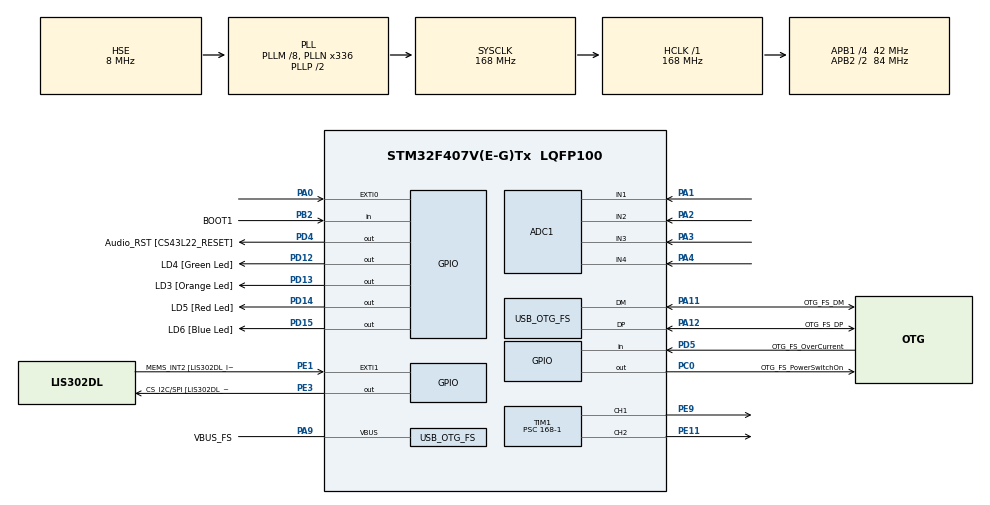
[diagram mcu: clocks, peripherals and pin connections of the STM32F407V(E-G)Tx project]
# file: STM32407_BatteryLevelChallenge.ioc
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ADC1.Channel-0\#ChannelRegularConversion=ADC_CHANNEL_1
ADC1.Channel-1\#ChannelRegularConversion=ADC_CHANNEL_2
ADC1.Channel-2\#ChannelRegularConversion=ADC_CHANNEL_3
ADC1.Channel-3\#ChannelRegularConversion=ADC_CHANNEL_4
ADC1.DiscontinuousConvMode=ENABLE
ADC1.NbrOfConversion=4
ADC1.NbrOfConversionFlag=1
ADC1.Rank-0\#ChannelRegularConversion=1
ADC1.Rank-1\#ChannelRegularConversion=2
ADC1.Rank-2\#ChannelRegularConversion=3
ADC1.Rank-3\#ChannelRegularConversion=4
ADC1.SamplingTime-0\#ChannelRegularConversion=ADC_SAMPLETIME_3CYCLES
ADC1.SamplingTime-1\#ChannelRegularConversion=ADC_SAMPLETIME_3CYCLES
ADC1.SamplingTime-2\#ChannelRegularConversion=ADC_SAMPLETIME_3CYCLES
ADC1.SamplingTime-3\#ChannelRegularConversion=ADC_SAMPLETIME_3CYCLES
ADC1.master=1
Mcu.Family=STM32F4
Mcu.Name=STM32F407V(E-G)Tx
Mcu.Package=LQFP100
NVIC.OTG_FS_IRQn=true\:0\:0\:false\:false\:true\:true\:true\:true
NVIC.PriorityGroup=NVIC_PRIORITYGROUP_0
PA0-WKUP.Signal=GPXTI0
PA1.Signal=ADCx_IN1
PA10.GPIO_Label=OTG_FS_ID
PA10.GPIO_Mode=GPIO_MODE_AF_PP
PA10.GPIO_PuPd=GPIO_NOPULL
PA10.GPIO_Speed=GPIO_SPEED_FREQ_LOW
PA10.Signal=USB_OTG_FS_ID
PA11.GPIO_Label=OTG_FS_DM
PA11.GPIO_Mode=GPIO_MODE_AF_PP
PA11.GPIO_PuPd=GPIO_NOPULL
PA11.GPIO_Speed=GPIO_SPEED_FREQ_LOW
PA11.Mode=Host_Only
PA11.Signal=USB_OTG_FS_DM
PA12.GPIO_Label=OTG_FS_DP
PA12.GPIO_Mode=GPIO_MODE_AF_PP
PA12.GPIO_PuPd=GPIO_NOPULL
PA12.GPIO_Speed=GPIO_SPEED_FREQ_LOW
PA12.Mode=Host_Only
PA12.Signal=USB_OTG_FS_DP
PA13.GPIO_Label=SWDIO
PA13.Mode=Serial_Wire
PA13.Signal=SYS_JTMS-SWDIO
PA14.GPIO_Label=SWCLK
PA14.Mode=Serial_Wire
PA14.Signal=SYS_JTCK-SWCLK
PA2.Signal=ADCx_IN2
PA3.Signal=ADCx_IN3
PA4.Signal=ADCx_IN4
PA9.GPIO_Label=VBUS_FS
PA9.GPIO_Mode=GPIO_MODE_INPUT
PA9.GPIO_PuPd=GPIO_NOPULL
PA9.Mode=Activate_VBUS
PA9.Signal=USB_OTG_FS_VBUS
PB10.GPIO_Label=CLK_IN [MP45DT02_CLK]
PB10.GPIO_Mode=GPIO_MODE_AF_PP
PB10.GPIO_PuPd=GPIO_NOPULL
PB10.GPIO_Speed=GPIO_SPEED_FREQ_LOW
PB10.Signal=I2S2_CK
PB2.GPIO_Label=BOOT1
PB2.GPIO_Mode=GPIO_MODE_INPUT
PB2.GPIO_PuPd=GPIO_NOPULL
PB2.Signal=GPIO_Input
PB3.GPIO_Label=SWO
PB3.Signal=SYS_JTDO-SWO
PB6.GPIO_Label=Audio_SCL [CS43L22_SCL]
PB6.GPIO_Mode=GPIO_MODE_AF_OD
PB6.GPIO_Pu=GPIO_PULLUP
PB6.GPIO_PuPd=GPIO_NOPULL
PB6.GPIO_Speed=GPIO_SPEED_FREQ_LOW
PB6.Signal=I2C1_SCL
PB9.GPIO_Label=Audio_SDA [CS43L22_SDA]
PB9.GPIO_Mode=GPIO_MODE_AF_OD
PB9.GPIO_Pu=GPIO_PULLUP
PB9.GPIO_PuPd=GPIO_NOPULL
PB9.GPIO_Speed=GPIO_SPEED_FREQ_LOW
PB9.Signal=I2C1_SDA
PC0.GPIO_Label=OTG_FS_PowerSwitchOn
PC0.GPIO_PuPd=GPIO_NOPULL
PC0.GPIO_Speed=GPIO_SPEED_FREQ_LOW
PC0.PinState=GPIO_PIN_SET
PC0.Signal=GPIO_Output
PC10.GPIO_Label=I2S3_SCK [CS43L22_SCLK]
PC10.GPIO_Mode=GPIO_MODE_AF_PP
PC10.GPIO_PuPd=GPIO_NOPULL
PC10.GPIO_Speed=GPIO_SPEED_FREQ_LOW
PC10.Signal=I2S3_CK
PC12.GPIO_Label=I2S3_SD [CS43L22_SDIN]
PC12.GPIO_Mode=GPIO_MODE_AF_PP
PC12.GPIO_PuPd=GPIO_NOPULL
PC12.GPIO_Speed=GPIO_SPEED_FREQ_LOW
PC12.Signal=I2S3_SD
PC14-OSC32_IN.GPIO_Label=PC14-OSC32_IN
PC14-OSC32_IN.Mode=LSE-External-Oscillator
PC14-OSC32_IN.Signal=RCC_OSC32_IN
PC15-OSC32_OUT.GPIO_Label=PC15-OSC32_OUT
PC15-OSC32_OUT.Mode=LSE-External-Oscillator
PC15-OSC32_OUT.Signal=RCC_OSC32_OUT
PC3.GPIO_Label=PDM_OUT [MP45DT02_DOUT]
PC3.GPIO_Mode=GPIO_MODE_AF_PP
PC3.GPIO_PuPd=GPIO_NOPULL
PC3.GPIO_Speed=GPIO_SPEED_FREQ_LOW
PC3.Signal=I2S2_SD
PC7.GPIO_Label=I2S3_MCK [CS43L22_MCLK]
PC7.GPIO_Mode=GPIO_MODE_AF_PP
PC7.GPIO_PuPd=GPIO_NOPULL
PC7.GPIO_Speed=GPIO_SPEED_FREQ_LOW
PC7.Signal=I2S3_MCK
PD12.GPIO_Label=LD4 [Green Led]
PD12.GPIO_PuPd=GPIO_NOPULL
PD12.GPIO_Speed=GPIO_SPEED_FREQ_LOW
PD12.Signal=GPIO_Output
PD13.GPIO_Label=LD3 [Orange Led]
PD13.GPIO_PuPd=GPIO_NOPULL
PD13.GPIO_Speed=GPIO_SPEED_FREQ_LOW
PD13.Signal=GPIO_Output
PD14.GPIO_Label=LD5 [Red Led]
PD14.GPIO_PuPd=GPIO_NOPULL
PD14.GPIO_Speed=GPIO_SPEED_FREQ_LOW
PD14.Signal=GPIO_Output
PD15.GPIO_Label=LD6 [Blue Led]
PD15.GPIO_PuPd=GPIO_NOPULL
PD15.GPIO_Speed=GPIO_SPEED_FREQ_LOW
PD15.Signal=GPIO_Output
PD4.GPIO_Label=Audio_RST [CS43L22_RESET]
PD4.GPIO_PuPd=GPIO_NOPULL
PD4.GPIO_Speed=GPIO_SPEED_FREQ_LOW
PD4.Signal=GPIO_Output
PD5.GPIO_Label=OTG_FS_OverCurrent
PD5.GPIO_Mode=GPIO_MODE_INPUT
PD5.GPIO_PuPd=GPIO_NOPULL
PD5.Signal=GPIO_Input
PE1.GPIO_Label=MEMS_INT2 [LIS302DL_INT2]
PE1.GPIO_ModeDefaultEXTI=GPIO_MODE_EVT_RISING
PE1.GPIO_PuPd=GPIO_NOPULL
PE1.Signal=GPXTI1
PE11.Signal=S_TIM1_CH2
PE3.GPIO_Label=CS_I2C/SPI [LIS302DL_CS_I2C/SPI]
PE3.GPIO_PuPd=GPIO_NOPULL
PE3.GPIO_Speed=GPIO_SPEED_FREQ_LOW
PE3.Signal=GPIO_Output
PE9.Signal=S_TIM1_CH1
PH0-OSC_IN.GPIO_Label=PH0-OSC_IN
PH0-OSC_IN.Mode=HSE-External-Oscillator
PH0-OSC_IN.Signal=RCC_OSC_IN
PH1-OSC_OUT.GPIO_Label=PH1-OSC_OUT
PH1-OSC_OUT.Mode=HSE-External-Oscillator
PH1-OSC_OUT.Signal=RCC_OSC_OUT
ProjectManager.HeapSize=0x200
ProjectManager.StackSize=0x400
ProjectManager.TargetToolchain=STM32CubeIDE
RCC.48MHZClocksFreq_Value=48000000
RCC.AHBFreq_Value=168000000
RCC.APB1CLKDivider=RCC_HCLK_DIV4
RCC.APB1Freq_Value=42000000
RCC.APB1TimFreq_Value=84000000
RCC.APB2CLKDivider=RCC_HCLK_DIV2
RCC.APB2Freq_Value=84000000
RCC.APB2TimFreq_Value=168000000
RCC.CortexFreq_Value=168000000
RCC.HCLKFreq_Value=168000000
RCC.HSE_VALUE=8000000
RCC.HSI_VALUE=16000000
RCC.PLLM=8
RCC.PLLN=336
RCC.PLLQ=7
RCC.SYSCLKFreq_VALUE=168000000
RCC.SYSCLKSource=RCC_SYSCLKSOURCE_PLLCLK
RCC.VCOOutputFreq_Value=336000000
SH.ADCx_IN1.0=ADC1_IN1,IN1
SH.ADCx_IN2.0=ADC1_IN2,IN2
SH.ADCx_IN3.0=ADC1_IN3,IN3
SH.ADCx_IN4.0=ADC1_IN4,IN4
SH.S_TIM1_CH1.0=TIM1_CH1,PWM Generation1 CH1
SH.S_TIM1_CH2.0=TIM1_CH2,PWM Generation2 CH2
TIM1.Channel-PWM\ Generation1\ CH1=TIM_CHANNEL_1
TIM1.Channel-PWM\ Generation2\ CH2=TIM_CHANNEL_2
TIM1.Period=1000-1
TIM1.Prescaler=168-1
TIM3.Period=60000-1
TIM3.Prescaler=8400-1
USB_HOST.BSP.number=1
USB_HOST.USBH_HandleTypeDef-CDC_FS=hUsbHostFS
USB_HOST.VirtualModeFS=Cdc
USB_HOST0.BSP.STBoard=false
USB_HOST0.BSP.api=Unknown
USB_HOST0.BSP.instance=PC0
USB_HOST0.BSP.ip=GPIO
USB_HOST0.BSP.mode=Output
USB_HOST0.BSP.name=Drive_VBUS_FS
USB_HOST0.BSP.solution=PC0
USB_OTG_FS.VirtualMode=Host_Only
USB_OTG_FS.phy_itface=HCD_PHY_EMBEDDED
VP_TIM3_VS_ClockSourceINT.Mode=Internal
VP_USB_HOST_VS_USB_HOST_CDC_FS.Mode=CDC_FS
board=STM32F407G-DISC1

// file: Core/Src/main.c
/* USER CODE BEGIN Header */
/**
  ******************************************************************************
  * @file           : main.c
  * @brief          : Main program body
  ******************************************************************************
  * @attention
  *
  * Copyright (c) 2025 STMicroelectronics.
  * All rights reserved.
  *
  * This software is licensed under terms that can be found in the LICENSE file
  * in the root directory of this software component.
  * If no LICENSE file comes with this software, it is provided AS-IS.
  *
  ******************************************************************************
  */
/* USER CODE END Header */
#include "main.h"
#include "usb_host.h"

/* USER CODE BEGIN PD */

#define MOTOR_ON_THRESH 7
#define MOTOR_OFF_THRESH 6.5

/* USER CODE END PD */

ADC_HandleTypeDef hadc1;

TIM_HandleTypeDef htim1;
TIM_HandleTypeDef htim3;

/* USER CODE BEGIN PV */

uint16_t gADC_Value = 0;
uint8_t gButton_State = 0;
uint8_t gEditMotors = 0;

/* USER CODE END PV */

void SystemClock_Config(void);
static void MX_GPIO_Init(void);
static void MX_ADC1_Init(void);
static void MX_TIM3_Init(void);
static void MX_TIM1_Init(void);
void MX_USB_HOST_Process(void);

/* USER CODE BEGIN 0 */

long map(long x, long in_min, long in_max, long out_min, long out_max) // Define function to map voltage to a percentage
{
	return (x - in_min) * (out_max - out_min + 1) / (in_max - in_min +1) + out_min;
}

/* USER CODE END 0 */

int main(void)
{

  /* MCU Configuration--------------------------------------------------------*/

  /* Reset of all peripherals, Initializes the Flash interface and the Systick. */
  HAL_Init();

  /* Configure the system clock */
  SystemClock_Config();

  /* Initialize all configured peripherals */
  MX_GPIO_Init();
  MX_USB_HOST_Init();
  MX_ADC1_Init();
  MX_TIM3_Init();
  MX_TIM1_Init();
  /* USER CODE BEGIN 2 */

  HAL_TIM_Base_Start_IT(&htim1);

  /* USER CODE END 2 */

  /* Infinite loop */
  /* USER CODE BEGIN WHILE */
  while (1)
  {
	  uint8_t channel1_PWM;
	  uint8_t channel2_PWM;
	  uint8_t pwm_Level;

	  HAL_ADC_Start(&hadc1);
	  HAL_ADC_PollForConversion(&hadc1, 100);
	  gADC_Value = HAL_ADC_GetValue(&hadc1);
	  HAL_ADC_Stop(&hadc1);

	  gADC_Value = map(gADC_Value, 0, 4096, 0, 100);

	  // Checks battery level and changes accordingly
	  if (gADC_Value > MOTOR_ON_THRESH){

		  // Motor on at full speed
		  pwm_Level = 9;

	  }

	  else if(gADC_Value < MOTOR_OFF_THRESH){

		  // Stops Motors
		  pwm_Level = 0;

	  }

	  else{

		  // Motor on at half speed
		  pwm_Level = 5;

	  }

	  // Checks button clicks and changes accordingly
	  if (gEditMotors == 1)
	  {
		  gEditMotors = 0;

		  if (gButton_State == 1)
		  {
			  // Turns off motors
			  channel1_PWM = 0;
			  channel2_PWM = 0;
		  }
		  if (gButton_State == 2)
		  {
			  // Rotates CW
			  channel1_PWM = pwm_Level;
			  channel2_PWM = 0;
		  }
		  if (gButton_State == 3)
		  {
			  // Rotates CCW
			  channel1_PWM = 0;
			  channel2_PWM = pwm_Level;
		  }

		  gButton_State = 0;
	  }

	  // Change motor pins accordingly
	  __HAL_TIM_SET_COMPARE(&htim1, TIM_CHANNEL_1, channel1_PWM);
	  __HAL_TIM_SET_COMPARE(&htim1, TIM_CHANNEL_2, channel2_PWM);

    /* USER CODE END WHILE */
    MX_USB_HOST_Process();

  }
}

void SystemClock_Config(void)
{
  RCC_OscInitTypeDef RCC_OscInitStruct = {0};
  RCC_ClkInitTypeDef RCC_ClkInitStruct = {0};

  /** Configure the main internal regulator output voltage
  */
  __HAL_RCC_PWR_CLK_ENABLE();
  __HAL_PWR_VOLTAGESCALING_CONFIG(PWR_REGULATOR_VOLTAGE_SCALE1);

  /** Initializes the RCC Oscillators according to the specified parameters
  * in the RCC_OscInitTypeDef structure.
  */
  RCC_OscInitStruct.OscillatorType = RCC_OSCILLATORTYPE_HSE;
  RCC_OscInitStruct.HSEState = RCC_HSE_ON;
  RCC_OscInitStruct.PLL.PLLState = RCC_PLL_ON;
  RCC_OscInitStruct.PLL.PLLSource = RCC_PLLSOURCE_HSE;
  RCC_OscInitStruct.PLL.PLLM = 8;
  RCC_OscInitStruct.PLL.PLLN = 336;
  RCC_OscInitStruct.PLL.PLLP = RCC_PLLP_DIV2;
  RCC_OscInitStruct.PLL.PLLQ = 7;
  if (HAL_RCC_OscConfig(&RCC_OscInitStruct) != HAL_OK)
  {
    Error_Handler();
  }

  /** Initializes the CPU, AHB and APB buses clocks
  */
  RCC_ClkInitStruct.ClockType = RCC_CLOCKTYPE_HCLK|RCC_CLOCKTYPE_SYSCLK
                              |RCC_CLOCKTYPE_PCLK1|RCC_CLOCKTYPE_PCLK2;
  RCC_ClkInitStruct.SYSCLKSource = RCC_SYSCLKSOURCE_PLLCLK;
  RCC_ClkInitStruct.AHBCLKDivider = RCC_SYSCLK_DIV1;
  RCC_ClkInitStruct.APB1CLKDivider = RCC_HCLK_DIV4;
  RCC_ClkInitStruct.APB2CLKDivider = RCC_HCLK_DIV2;

  if (HAL_RCC_ClockConfig(&RCC_ClkInitStruct, FLASH_LATENCY_5) != HAL_OK)
  {
    Error_Handler();
  }
}

static void MX_ADC1_Init(void)
{

  ADC_ChannelConfTypeDef sConfig = {0};

  /** Configure the global features of the ADC (Clock, Resolution, Data Alignment and number of conversion)
  */
  hadc1.Instance = ADC1;
  hadc1.Init.ClockPrescaler = ADC_CLOCK_SYNC_PCLK_DIV4;
  hadc1.Init.Resolution = ADC_RESOLUTION_12B;
  hadc1.Init.ScanConvMode = ENABLE;
  hadc1.Init.ContinuousConvMode = DISABLE;
  hadc1.Init.DiscontinuousConvMode = ENABLE;
  hadc1.Init.NbrOfDiscConversion = 1;
  hadc1.Init.ExternalTrigConvEdge = ADC_EXTERNALTRIGCONVEDGE_NONE;
  hadc1.Init.ExternalTrigConv = ADC_SOFTWARE_START;
  hadc1.Init.DataAlign = ADC_DATAALIGN_RIGHT;
  hadc1.Init.NbrOfConversion = 4;
  hadc1.Init.DMAContinuousRequests = DISABLE;
  hadc1.Init.EOCSelection = ADC_EOC_SINGLE_CONV;
  if (HAL_ADC_Init(&hadc1) != HAL_OK)
  {
    Error_Handler();
  }

  /** Configure for the selected ADC regular channel its corresponding rank in the sequencer and its sample time.
  */
  sConfig.Channel = ADC_CHANNEL_1;
  sConfig.Rank = 1;
  sConfig.SamplingTime = ADC_SAMPLETIME_3CYCLES;
  if (HAL_ADC_ConfigChannel(&hadc1, &sConfig) != HAL_OK)
  {
    Error_Handler();
  }

  /** Configure for the selected ADC regular channel its corresponding rank in the sequencer and its sample time.
  */
  sConfig.Channel = ADC_CHANNEL_2;
  sConfig.Rank = 2;
  if (HAL_ADC_ConfigChannel(&hadc1, &sConfig) != HAL_OK)
  {
    Error_Handler();
  }

  /** Configure for the selected ADC regular channel its corresponding rank in the sequencer and its sample time.
  */
  sConfig.Channel = ADC_CHANNEL_3;
  sConfig.Rank = 3;
  if (HAL_ADC_ConfigChannel(&hadc1, &sConfig) != HAL_OK)
  {
    Error_Handler();
  }

  /** Configure for the selected ADC regular channel its corresponding rank in the sequencer and its sample time.
  */
  sConfig.Channel = ADC_CHANNEL_4;
  sConfig.Rank = 4;
  if (HAL_ADC_ConfigChannel(&hadc1, &sConfig) != HAL_OK)
  {
    Error_Handler();
  }

}

static void MX_TIM1_Init(void)
{

  TIM_MasterConfigTypeDef sMasterConfig = {0};
  TIM_OC_InitTypeDef sConfigOC = {0};
  TIM_BreakDeadTimeConfigTypeDef sBreakDeadTimeConfig = {0};

  htim1.Instance = TIM1;
  htim1.Init.Prescaler = 168-1;
  htim1.Init.CounterMode = TIM_COUNTERMODE_UP;
  htim1.Init.Period = 1000-1;
  htim1.Init.ClockDivision = TIM_CLOCKDIVISION_DIV1;
  htim1.Init.RepetitionCounter = 0;
  htim1.Init.AutoReloadPreload = TIM_AUTORELOAD_PRELOAD_DISABLE;
  if (HAL_TIM_PWM_Init(&htim1) != HAL_OK)
  {
    Error_Handler();
  }
  sMasterConfig.MasterOutputTrigger = TIM_TRGO_RESET;
  sMasterConfig.MasterSlaveMode = TIM_MASTERSLAVEMODE_DISABLE;
  if (HAL_TIMEx_MasterConfigSynchronization(&htim1, &sMasterConfig) != HAL_OK)
  {
    Error_Handler();
  }
  sConfigOC.OCMode = TIM_OCMODE_PWM1;
  sConfigOC.Pulse = 0;
  sConfigOC.OCPolarity = TIM_OCPOLARITY_HIGH;
  sConfigOC.OCNPolarity = TIM_OCNPOLARITY_HIGH;
  sConfigOC.OCFastMode = TIM_OCFAST_DISABLE;
  sConfigOC.OCIdleState = TIM_OCIDLESTATE_RESET;
  sConfigOC.OCNIdleState = TIM_OCNIDLESTATE_RESET;
  if (HAL_TIM_PWM_ConfigChannel(&htim1, &sConfigOC, TIM_CHANNEL_1) != HAL_OK)
  {
    Error_Handler();
  }
  if (HAL_TIM_PWM_ConfigChannel(&htim1, &sConfigOC, TIM_CHANNEL_2) != HAL_OK)
  {
    Error_Handler();
  }
  sBreakDeadTimeConfig.OffStateRunMode = TIM_OSSR_DISABLE;
  sBreakDeadTimeConfig.OffStateIDLEMode = TIM_OSSI_DISABLE;
  sBreakDeadTimeConfig.LockLevel = TIM_LOCKLEVEL_OFF;
  sBreakDeadTimeConfig.DeadTime = 0;
  sBreakDeadTimeConfig.BreakState = TIM_BREAK_DISABLE;
  sBreakDeadTimeConfig.BreakPolarity = TIM_BREAKPOLARITY_HIGH;
  sBreakDeadTimeConfig.AutomaticOutput = TIM_AUTOMATICOUTPUT_DISABLE;
  if (HAL_TIMEx_ConfigBreakDeadTime(&htim1, &sBreakDeadTimeConfig) != HAL_OK)
  {
    Error_Handler();
  }
  HAL_TIM_MspPostInit(&htim1);

}

static void MX_TIM3_Init(void)
{

  TIM_ClockConfigTypeDef sClockSourceConfig = {0};
  TIM_MasterConfigTypeDef sMasterConfig = {0};

  htim3.Instance = TIM3;
  htim3.Init.Prescaler = 8400-1;
  htim3.Init.CounterMode = TIM_COUNTERMODE_UP;
  htim3.Init.Period = 60000-1;
  htim3.Init.ClockDivision = TIM_CLOCKDIVISION_DIV1;
  htim3.Init.AutoReloadPreload = TIM_AUTORELOAD_PRELOAD_DISABLE;
  if (HAL_TIM_Base_Init(&htim3) != HAL_OK)
  {
    Error_Handler();
  }
  sClockSourceConfig.ClockSource = TIM_CLOCKSOURCE_INTERNAL;
  if (HAL_TIM_ConfigClockSource(&htim3, &sClockSourceConfig) != HAL_OK)
  {
    Error_Handler();
  }
  sMasterConfig.MasterOutputTrigger = TIM_TRGO_RESET;
  sMasterConfig.MasterSlaveMode = TIM_MASTERSLAVEMODE_DISABLE;
  if (HAL_TIMEx_MasterConfigSynchronization(&htim3, &sMasterConfig) != HAL_OK)
  {
    Error_Handler();
  }

}

static void MX_GPIO_Init(void)
{
  GPIO_InitTypeDef GPIO_InitStruct = {0};

  /* GPIO Ports Clock Enable */
  __HAL_RCC_GPIOE_CLK_ENABLE();
  __HAL_RCC_GPIOC_CLK_ENABLE();
  __HAL_RCC_GPIOH_CLK_ENABLE();
  __HAL_RCC_GPIOA_CLK_ENABLE();
  __HAL_RCC_GPIOB_CLK_ENABLE();
  __HAL_RCC_GPIOD_CLK_ENABLE();

  /*Configure GPIO pin Output Level */
  HAL_GPIO_WritePin(CS_I2C_SPI_GPIO_Port, CS_I2C_SPI_Pin, GPIO_PIN_RESET);

  /*Configure GPIO pin Output Level */
  HAL_GPIO_WritePin(OTG_FS_PowerSwitchOn_GPIO_Port, OTG_FS_PowerSwitchOn_Pin, GPIO_PIN_SET);

  /*Configure GPIO pin Output Level */
  HAL_GPIO_WritePin(GPIOD, LD4_Pin|LD3_Pin|LD5_Pin|LD6_Pin
                          |Audio_RST_Pin, GPIO_PIN_RESET);

  /*Configure GPIO pin : CS_I2C_SPI_Pin */
  GPIO_InitStruct.Pin = CS_I2C_SPI_Pin;
  GPIO_InitStruct.Mode = GPIO_MODE_OUTPUT_PP;
  GPIO_InitStruct.Pull = GPIO_NOPULL;
  GPIO_InitStruct.Speed = GPIO_SPEED_FREQ_LOW;
  HAL_GPIO_Init(CS_I2C_SPI_GPIO_Port, &GPIO_InitStruct);

  /*Configure GPIO pin : OTG_FS_PowerSwitchOn_Pin */
  GPIO_InitStruct.Pin = OTG_FS_PowerSwitchOn_Pin;
  GPIO_InitStruct.Mode = GPIO_MODE_OUTPUT_PP;
  GPIO_InitStruct.Pull = GPIO_NOPULL;
  GPIO_InitStruct.Speed = GPIO_SPEED_FREQ_LOW;
  HAL_GPIO_Init(OTG_FS_PowerSwitchOn_GPIO_Port, &GPIO_InitStruct);

  /*Configure GPIO pin : PDM_OUT_Pin */
  GPIO_InitStruct.Pin = PDM_OUT_Pin;
  GPIO_InitStruct.Mode = GPIO_MODE_AF_PP;
  GPIO_InitStruct.Pull = GPIO_NOPULL;
  GPIO_InitStruct.Speed = GPIO_SPEED_FREQ_LOW;
  GPIO_InitStruct.Alternate = GPIO_AF5_SPI2;
  HAL_GPIO_Init(PDM_OUT_GPIO_Port, &GPIO_InitStruct);

  /*Configure GPIO pin : PA0 */
  GPIO_InitStruct.Pin = GPIO_PIN_0;
  GPIO_InitStruct.Mode = GPIO_MODE_IT_RISING;
  GPIO_InitStruct.Pull = GPIO_NOPULL;
  HAL_GPIO_Init(GPIOA, &GPIO_InitStruct);

  /*Configure GPIO pin : BOOT1_Pin */
  GPIO_InitStruct.Pin = BOOT1_Pin;
  GPIO_InitStruct.Mode = GPIO_MODE_INPUT;
  GPIO_InitStruct.Pull = GPIO_NOPULL;
  HAL_GPIO_Init(BOOT1_GPIO_Port, &GPIO_InitStruct);

  /*Configure GPIO pin : CLK_IN_Pin */
  GPIO_InitStruct.Pin = CLK_IN_Pin;
  GPIO_InitStruct.Mode = GPIO_MODE_AF_PP;
  GPIO_InitStruct.Pull = GPIO_NOPULL;
  GPIO_InitStruct.Speed = GPIO_SPEED_FREQ_LOW;
  GPIO_InitStruct.Alternate = GPIO_AF5_SPI2;
  HAL_GPIO_Init(CLK_IN_GPIO_Port, &GPIO_InitStruct);

  /*Configure GPIO pins : LD4_Pin LD3_Pin LD5_Pin LD6_Pin
                           Audio_RST_Pin */
  GPIO_InitStruct.Pin = LD4_Pin|LD3_Pin|LD5_Pin|LD6_Pin
                          |Audio_RST_Pin;
  GPIO_InitStruct.Mode = GPIO_MODE_OUTPUT_PP;
  GPIO_InitStruct.Pull = GPIO_NOPULL;
  GPIO_InitStruct.Speed = GPIO_SPEED_FREQ_LOW;
  HAL_GPIO_Init(GPIOD, &GPIO_InitStruct);

  /*Configure GPIO pins : I2S3_MCK_Pin I2S3_SCK_Pin I2S3_SD_Pin */
  GPIO_InitStruct.Pin = I2S3_MCK_Pin|I2S3_SCK_Pin|I2S3_SD_Pin;
  GPIO_InitStruct.Mode = GPIO_MODE_AF_PP;
  GPIO_InitStruct.Pull = GPIO_NOPULL;
  GPIO_InitStruct.Speed = GPIO_SPEED_FREQ_LOW;
  GPIO_InitStruct.Alternate = GPIO_AF6_SPI3;
  HAL_GPIO_Init(GPIOC, &GPIO_InitStruct);

  /*Configure GPIO pin : OTG_FS_OverCurrent_Pin */
  GPIO_InitStruct.Pin = OTG_FS_OverCurrent_Pin;
  GPIO_InitStruct.Mode = GPIO_MODE_INPUT;
  GPIO_InitStruct.Pull = GPIO_NOPULL;
  HAL_GPIO_Init(OTG_FS_OverCurrent_GPIO_Port, &GPIO_InitStruct);

  /*Configure GPIO pins : Audio_SCL_Pin Audio_SDA_Pin */
  GPIO_InitStruct.Pin = Audio_SCL_Pin|Audio_SDA_Pin;
  GPIO_InitStruct.Mode = GPIO_MODE_AF_OD;
  GPIO_InitStruct.Pull = GPIO_PULLUP;
  GPIO_InitStruct.Speed = GPIO_SPEED_FREQ_LOW;
  GPIO_InitStruct.Alternate = GPIO_AF4_I2C1;
  HAL_GPIO_Init(GPIOB, &GPIO_InitStruct);

  /*Configure GPIO pin : MEMS_INT2_Pin */
  GPIO_InitStruct.Pin = MEMS_INT2_Pin;
  GPIO_InitStruct.Mode = GPIO_MODE_EVT_RISING;
  GPIO_InitStruct.Pull = GPIO_NOPULL;
  HAL_GPIO_Init(MEMS_INT2_GPIO_Port, &GPIO_InitStruct);

}

/* USER CODE BEGIN 4 */

void HAL_ADC_ConvCpltCallback(ADC_HandleTypeDef *hadc){
	gADC_Value = HAL_ADC_GetValue(hadc);
}

void HAL_GPIO_EXTI_Callback(uint16_t GPIO_PIN)
{
	if(HAL_GPIO_ReadPin(GPIOA, GPIO_PIN_0) == GPIO_PIN_SET)
	{
		gButton_State = (gButton_State +1) % 3;
		HAL_TIM_Base_Start_IT(&htim3);
	}
}

void HAL_TIM_PeriodElapsedCallback(TIM_HandleTypeDef *htim){
	if (htim->Instance == TIM3){
		gEditMotors = 1;
	}
}

/* USER CODE END 4 */

void Error_Handler(void)
{
  __disable_irq();
  while (1)
  {
  }
}
